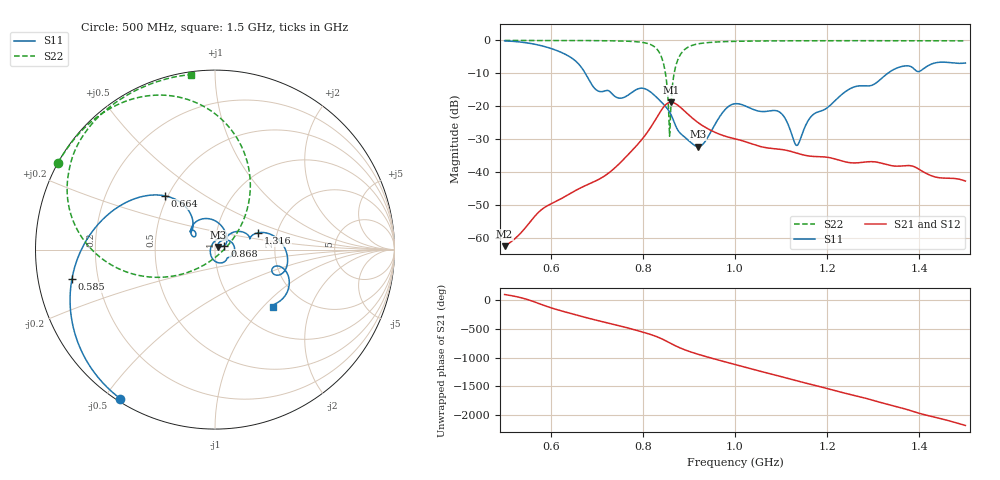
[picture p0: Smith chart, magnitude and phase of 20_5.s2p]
! TOUCHSTONE file generated by CST MICROWAVE STUDIO
! Date and time: Mon Oct 26 12:31:31 2020
! Project name: Scenario_1_Circular_Tissue_out_of_Line.cst
! Parameters = {dy1=-16.521; L_HA=400; MT=2.54; Rad_Dielectric=30; Rad_Lower=7.3; Rad_Upper=30; a_HA=580; a_WG=246; b_HA=500; b_WG=121; c_HA=0; c_WG=187; d_feed=85; dx1=866; h_feed=15; h_lower=18; h_upper=40}
! Header version: 2018
! Port assignment regex: !\s*Touchstone port\s*([0-9]+)\s*=\s*(CST MWS port|CST DS port)\s*([0-9]+|Zmin|Zmax)\s*\(\"(.*)\"\)(\s*mode\s*([0-9]+))?.*
! Touchstone port assignment:
! Touchstone port 1 = CST MWS port 1 ("")
! Touchstone port 2 = CST MWS port 2 ("")
# GHz S DB R 50
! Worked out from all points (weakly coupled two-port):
!   1001 points, 500 MHz to 1.5 GHz, reference 50 ohm
!   highest |S21| = -18.81 dB at 861 MHz (marker M1); lowest = -62.6 dB at 500 MHz (marker M2)
!   lowest |S11| = -32.3 dB at 920 MHz (marker M3), VSWR 1.05, Z = 51.9 + j1.6 ohm
!   |S11| at or under -10 dB: 675.1 MHz to 1.332 GHz (656.5 MHz wide, 65.4 % of centre)
!   |S22| runs from -29.1 to 0.0 dB; largest |S21 - S12| = 2.3e-06
!   S11 on the Smith chart (normalised r, x): 500 MHz: 0.01, -0.55; 585 MHz: 0.10, -0.10; 664 MHz: 0.48, +0.35; 868 MHz: 1.11, +0.05; 1.316 GHz: 1.59, +0.32; 1.5 GHz: 1.41, -1.14
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0.5  -0.14 -122.5  -62.59 99.5  -62.59 99.5  -0.01 151.1
0.585  -1.80 -168.5  -50.97 -88.4  -50.97 -88.4  -0.02 145.3
0.664  -7.72 133.2  -44.91 85.3  -44.91 85.3  -0.04 138.7
0.667  -8.27 130.7  -44.71 78.7  -44.71 78.7  -0.04 138.4
0.703  -15.38 137.4  -42.36 4.7  -42.36 4.7  -0.07 134.5
0.751  -17.57 145.4  -37.20 -87.5  -37.20 -87.5  -0.16 127.4
0.78  -15.45 143.1  -32.97 -149.7  -32.97 -149.7  -0.33 120.5
0.816  -15.60 93.6  -26.66 126.0  -26.66 126.0  -1.20 103.0
0.834  -17.86 69.0  -22.57 73.3  -22.57 73.3  -3.27 83.4
0.848  -19.89 50.4  -19.79 21.0  -19.79 21.0  -9.14 56.5
0.856  -21.32 38.5  -18.95 -12.6  -18.95 -12.6  -21.60 21.3
0.861  -22.54 30.8  -18.81 -33.8  -18.81 -33.8  -19.69 -125.0
0.868  -24.86 23.2  -19.03 -62.5  -19.03 -62.5  -9.97 -151.2
0.889  -29.19 26.6  -21.28 -136.8  -21.28 -136.8  -2.99 178.0
0.92  -32.32 39.4  -25.01 138.9  -25.01 138.9  -1.03 158.2
1  -19.25 6.0  -29.93 -39.5  -29.93 -39.5  -0.28 140.3
1.097  -21.82 -66.7  -33.10 116.5  -33.10 116.5  -0.13 130.0
1.134  -31.94 169.1  -34.28 36.6  -34.28 36.6  -0.11 126.9
1.167  -22.89 62.5  -35.26 -29.0  -35.26 -29.0  -0.10 124.2
1.316  -11.81 21.3  -37.28 19.6  -37.28 19.6  -0.09 112.9
1.334  -9.75 14.8  -37.94 -18.9  -37.94 -18.9  -0.09 111.5
1.5  -6.87 -44.9  -42.77 -20.6  -42.77 -20.6  -0.13 98.0
